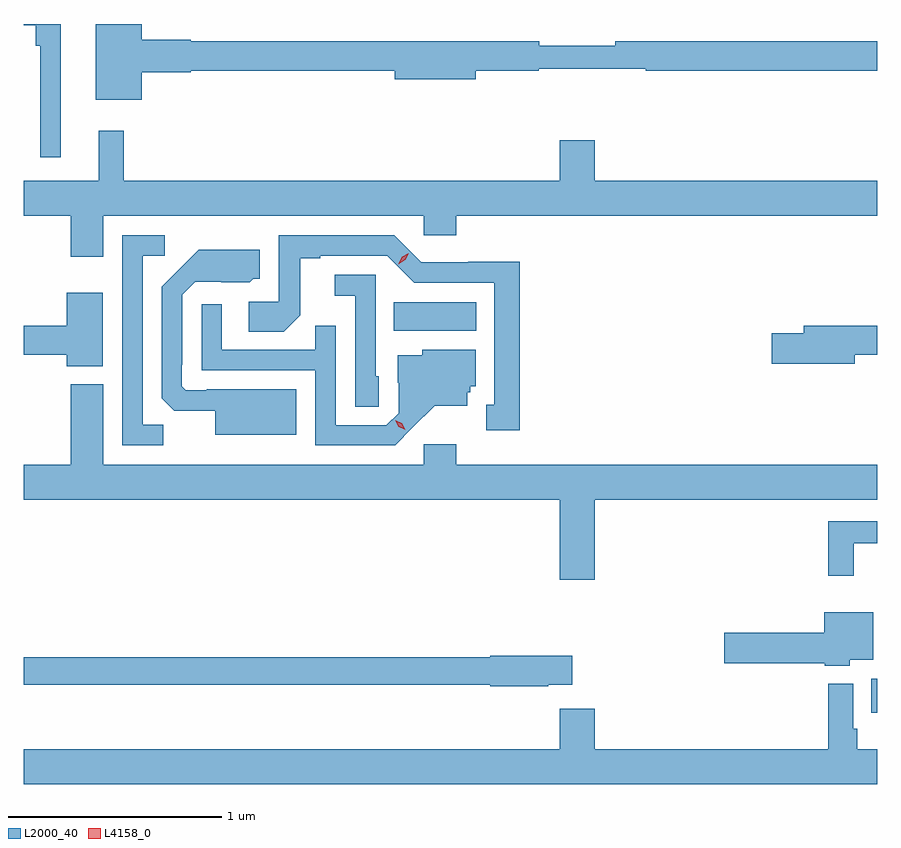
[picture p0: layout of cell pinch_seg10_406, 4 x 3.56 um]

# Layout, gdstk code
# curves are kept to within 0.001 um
import gdstk
lib = gdstk.Library(unit=1e-6, precision=1e-09)
def R(c, l, rs):  # rectangles x0, y0, x1, y1
    for r in rs: c.add(gdstk.rectangle(r[:2], r[2:], *l))
def P(c, l, *ps):  # polygons
    for p in ps: c.add(gdstk.Polygon(p, *l))
L2000_40 = (2000, 40)
L4158_0 = (4158, 0)

pinch_seg10_406 = lib.new_cell('pinch_seg10_406')
R(pinch_seg10_406, L2000_40, [(370.264,1312.637,370.292,1312.798), (368.026,1314.428,368.413,1314.562)])
P(pinch_seg10_406, L2000_40, [(366.466,1315.866),(366.292,1315.866),(366.292,1315.859),(366.349,1315.859),(366.349,1315.763),(366.369,1315.763),(366.369,1315.242),(366.466,1315.242)],
  [(366.844,1315.64),(367.074,1315.64),(367.074,1315.648),(368.03,1315.648),(368.03,1315.606),(368.41,1315.606),(368.41,1315.648),(368.706,1315.648),(368.706,1315.656),(369.206,1315.656),(369.206,1315.648),(370.292,1315.648),(370.292,1315.784),(369.064,1315.784),(369.064,1315.765),(368.708,1315.765),(368.708,1315.784),(367.074,1315.784),(367.074,1315.792),(366.844,1315.792),(366.844,1315.866),(366.629,1315.866),(366.629,1315.511),(366.844,1315.511)],
  [(366.664,1314.968),(368.166,1314.968),(368.166,1314.875),(368.318,1314.875),(368.318,1314.968),(370.292,1314.968),(370.292,1315.132),(368.968,1315.132),(368.968,1315.321),(368.804,1315.321),(368.804,1315.132),(366.761,1315.132),(366.761,1315.366),(366.644,1315.366),(366.644,1315.132),(366.292,1315.132),(366.292,1314.968),(366.512,1314.968),(366.512,1314.774),(366.664,1314.774)],
  [(368.617,1314.752),(368.376,1314.752),(368.376,1314.75),(368.154,1314.75),(368.028,1314.876),(367.488,1314.876),(367.488,1314.564),(367.347,1314.564),(367.347,1314.424),(367.511,1314.424),(367.587,1314.5),(367.587,1314.768),(367.681,1314.768),(367.681,1314.78),(367.995,1314.78),(368.121,1314.654),(368.498,1314.654),(368.498,1314.081),(368.459,1314.081),(368.459,1313.961),(368.617,1313.961)],
  [(366.945,1313.987),(366.849,1313.987),(366.849,1314.78),(366.952,1314.78),(366.952,1314.876),(366.753,1314.876),(366.753,1313.892),(366.945,1313.892)],
  [(367.57,1314.154),(367.15,1314.154),(367.15,1314.15),(367.05,1314.15),(367.032,1314.168),(367.032,1314.268),(367.035,1314.268),(367.035,1314.597),(367.095,1314.657),(367.352,1314.656),(367.368,1314.672),(367.399,1314.672),(367.399,1314.808),(367.111,1314.808),(366.939,1314.634),(366.939,1314.112),(366.998,1314.053),(367.19,1314.053),(367.19,1313.942),(367.57,1313.942)],
  [(367.956,1314.216),(367.941,1314.216),(367.941,1314.69),(367.749,1314.69),(367.749,1314.593),(367.845,1314.593),(367.845,1314.073),(367.956,1314.073)],
  [(366.661,1314.607),(366.494,1314.607),(366.494,1314.452),(366.292,1314.452),(366.292,1314.316),(366.494,1314.316),(366.494,1314.263),(366.661,1314.263)],
  [(368.116,1313.975),(368.219,1314.077),(368.371,1314.077),(368.371,1314.141),(368.385,1314.141),(368.385,1314.168),(368.41,1314.168),(368.41,1314.34),(368.16,1314.34),(368.16,1314.313),(368.045,1314.313),(368.045,1314.184),(368.049,1314.184),(368.049,1314.042),(367.992,1313.985),(367.755,1313.985),(367.755,1314.452),(367.657,1314.452),(367.657,1314.339),(367.221,1314.339),(367.221,1314.553),(367.125,1314.553),(367.125,1314.243),(367.659,1314.243),(367.659,1313.892),(368.032,1313.892)],
  [(370.186,1314.316),(370.292,1314.316),(370.292,1314.452),(369.947,1314.452),(369.947,1314.416),(369.798,1314.416),(369.798,1314.274),(370.186,1314.274)],
  [(368.968,1313.636),(370.292,1313.636),(370.292,1313.8),(368.318,1313.8),(368.318,1313.896),(368.166,1313.896),(368.166,1313.8),(366.664,1313.8),(366.664,1314.178),(366.512,1314.178),(366.512,1313.8),(366.292,1313.8),(366.292,1313.636),(368.804,1313.636),(368.804,1313.262),(368.968,1313.262)],
  [(370.183,1313.432),(370.292,1313.432),(370.292,1313.536),(370.062,1313.536),(370.062,1313.28),(370.183,1313.28)],
  [(370.164,1312.886),(370.273,1312.886),(370.273,1313.11),(370.043,1313.11),(370.043,1313.012),(369.576,1313.012),(369.576,1312.87),(370.047,1312.87),(370.047,1312.859),(370.164,1312.859)],
  [(368.75,1312.769),(368.863,1312.769),(368.863,1312.904),(368.478,1312.904),(368.478,1312.898),(366.292,1312.898),(366.292,1312.77),(368.478,1312.77),(368.478,1312.762),(368.75,1312.762)],
  [(370.292,1312.468),(370.199,1312.468),(370.199,1312.564),(370.179,1312.564),(370.179,1312.774),(370.063,1312.774),(370.063,1312.468),(368.968,1312.468),(368.968,1312.657),(368.804,1312.657),(368.804,1312.468),(366.292,1312.468),(366.292,1312.304),(370.292,1312.304)])
P(pinch_seg10_406, L4158_0, [(368.047,1314.741),(368.047,1314.741),(368.065,1314.774),(368.097,1314.792),(368.097,1314.792),(368.097,1314.792),(368.079,1314.76),(368.048,1314.741)],
  [(368.08,1313.964),(368.05,1313.979),(368.032,1314.009),(368.032,1314.009),(368.033,1314.009),(368.063,1313.994),(368.08,1313.964),(368.08,1313.964)])

lib.write_gds('pinch_seg10_406.gds')
